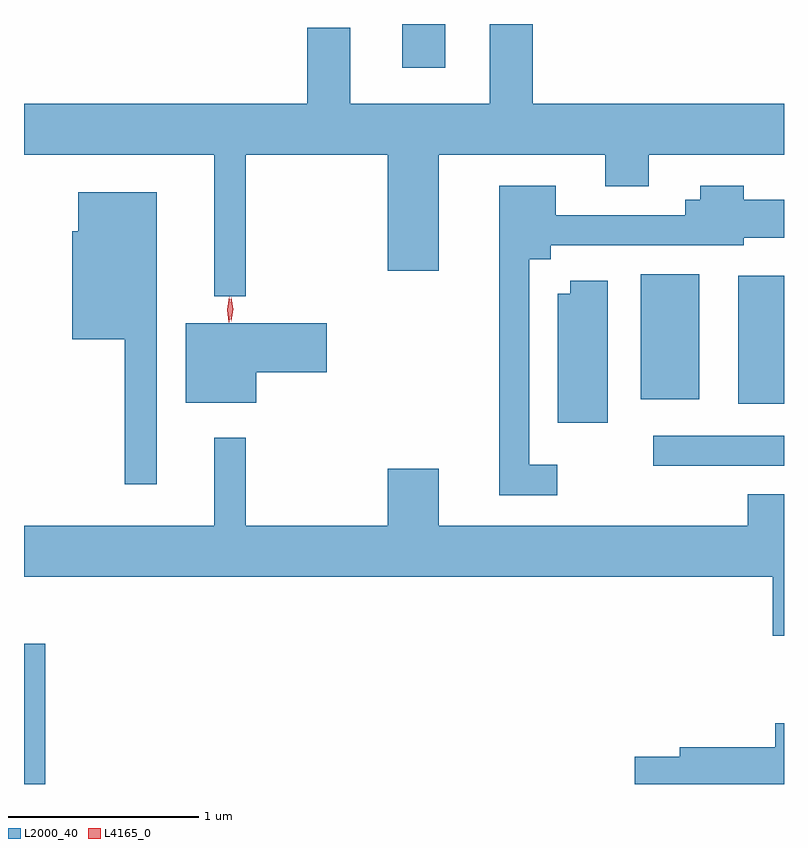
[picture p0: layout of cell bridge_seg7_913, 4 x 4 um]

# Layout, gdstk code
import gdstk
lib = gdstk.Library(unit=1e-6, precision=1e-09)
def R(c, l, rs):  # rectangles x0, y0, x1, y1
    for r in rs: c.add(gdstk.rectangle(r[:2], r[2:], *l))
def P(c, l, *ps):  # polygons
    for p in ps: c.add(gdstk.Polygon(p, *l))
L2000_40 = (2000, 40)
L4165_0 = (4165, 0)

bridge_seg7_913 = lib.new_cell('bridge_seg7_913')
R(bridge_seg7_913, L2000_40, [(532.841,1697.685,532.954,1698.424), (536.153,1699.361,536.841,1699.519), (536.601,1699.686,536.841,1700.359), (536.086,1699.711,536.394,1700.369), (534.831,1701.456,535.059,1701.685)])
P(bridge_seg7_913, L2000_40, [(534.009,1700.996),(534.756,1700.996),(534.756,1700.386),(535.024,1700.386),(535.024,1700.996),(535.901,1700.996),(535.901,1700.831),(536.129,1700.831),(536.129,1700.996),(536.841,1700.996),(536.841,1701.264),(535.519,1701.264),(535.519,1701.685),(535.291,1701.685),(535.291,1701.264),(534.559,1701.264),(534.559,1701.664),(534.331,1701.664),(534.331,1701.264),(532.841,1701.264),(532.841,1700.996),(533.841,1700.996),(533.841,1700.253),(534.009,1700.253)],
  [(535.648,1699.364),(535.499,1699.364),(535.499,1700.446),(535.614,1700.446),(535.614,1700.521),(536.629,1700.521),(536.629,1700.561),(536.841,1700.561),(536.841,1700.759),(536.629,1700.759),(536.629,1700.834),(536.401,1700.834),(536.401,1700.759),(536.321,1700.759),(536.321,1700.679),(535.639,1700.679),(535.639,1700.834),(535.341,1700.834),(535.341,1699.206),(535.648,1699.206)],
  [(533.539,1700.799),(533.126,1700.799),(533.126,1700.594),(533.096,1700.594),(533.096,1700.026),(533.371,1700.026),(533.371,1699.263),(533.539,1699.263)],
  [(535.914,1700.334),(535.716,1700.334),(535.716,1700.264),(535.651,1700.264),(535.651,1699.586),(535.914,1699.586)],
  [(534.064,1699.851),(534.434,1699.851),(534.434,1700.109),(533.691,1700.109),(533.691,1699.691),(534.064,1699.691)],
  [(536.841,1699.209),(536.651,1699.209),(536.651,1699.044),(535.024,1699.044),(535.024,1699.344),(534.756,1699.344),(534.756,1699.044),(534.009,1699.044),(534.009,1699.508),(533.841,1699.508),(533.841,1699.044),(532.841,1699.044),(532.841,1698.776),(536.781,1698.776),(536.781,1698.466),(536.841,1698.466)],
  [(536.841,1698.004),(536.796,1698.004),(536.796,1697.879),(536.291,1697.879),(536.291,1697.829),(536.056,1697.829),(536.056,1697.685),(536.841,1697.685)])
P(bridge_seg7_913, L4165_0, [(533.919,1700.114),(533.91,1700.182),(533.92,1700.25),(533.921,1700.25),(533.922,1700.25),(533.93,1700.182),(533.92,1700.114),(533.92,1700.114)],
  [(533.932,1700.12),(533.932,1700.121),(533.922,1700.184),(533.931,1700.246),(533.932,1700.247),(533.932,1700.246),(533.942,1700.184),(533.933,1700.121)])

lib.write_gds('bridge_seg7_913.gds')
